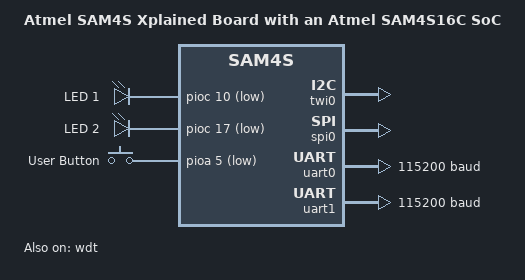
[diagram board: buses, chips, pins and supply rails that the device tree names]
/*
 * Copyright (c) Justin Watson 2017
 * SPDX-License-Identifier: Apache-2.0
 */

/dts-v1/;

#include <atmel/sam4s16c.dtsi>

/ {
	model = "Atmel SAM4S Xplained Board with an Atmel SAM4S16C SoC";
	compatible = "atmel,sam4s_xplained", "atmel,sam4s16c", "atmel,sam4s";

	aliases {
		i2c-0 = &twi0;
		i2c-1 = &twi1;
		led0 = &yellow_led_1;
		led1 = &yellow_led_2;
		sw0 = &user_button;
	};

	chosen {
		zephyr,console = &uart0;
		zephyr,shell-uart = &uart0;
		zephyr,sram = &sram0;
		zephyr,flash = &flash0;
	};

	leds {
		compatible = "gpio-leds";
		yellow_led_1: led_1 {
			gpios = <&pioc 10 GPIO_ACTIVE_LOW>;
			label = "LED 1";
		};
		yellow_led_2: led_2 {
			gpios = <&pioc 17 GPIO_ACTIVE_LOW>;
			label = "LED 2";
		};
	};

	gpio_keys {
		compatible = "gpio-keys";
		user_button: button_1 {
			label = "User Button";
			gpios = <&pioa 5 (GPIO_PULL_UP | GPIO_ACTIVE_LOW)>;
		};
	};
};

&cpu0 {
	clock-frequency = <120000000>;
};

&twi0 {
	status = "okay";
};

&spi0 {
	status = "okay";
};

&uart0 {
	current-speed = <115200>;
	status = "okay";
};

&uart1 {
	current-speed = <115200>;
	status = "okay";
};

&wdt {
	status = "okay";
};
